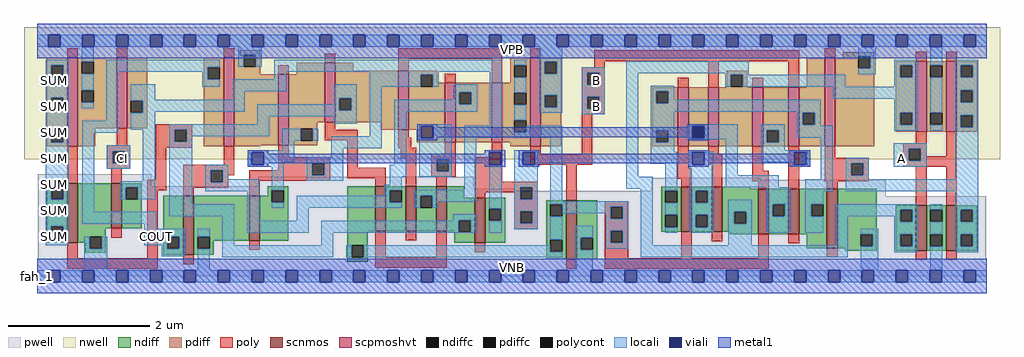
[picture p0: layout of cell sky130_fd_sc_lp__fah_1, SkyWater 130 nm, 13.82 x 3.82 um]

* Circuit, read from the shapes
.subckt sky130_fd_sc_lp__fah_1 A B CI VGND VNB VPB VPWR COUT SUM
XM1 VGND n1 SUM VNB sky130_fd_pr__nfet_01v8 w=0.84 l=0.15
XM2 n2 CI VGND VNB sky130_fd_pr__nfet_01v8 w=0.64 l=0.15
XM3 VGND n3 COUT VNB sky130_fd_pr__nfet_01v8 w=0.84 l=0.15
XM4 n4 n2 VGND VNB sky130_fd_pr__nfet_01v8 w=0.64 l=0.15
XM5 n3 n5 n6 VNB sky130_fd_pr__nfet_01v8 w=0.64 l=0.15
XM6 n2 n7 n3 VNB sky130_fd_pr__nfet_01v8 w=0.64 l=0.15
XM7 n1 n5 n2 VNB sky130_fd_pr__nfet_01v8 w=0.64 l=0.15
XM8 n4 n7 n1 VNB sky130_fd_pr__nfet_01v8 w=0.64 l=0.15
XM9 VGND B n6 VNB sky130_fd_pr__nfet_01v8 w=0.84 l=0.15
XM10 n7 n6 n8 VNB sky130_fd_pr__nfet_01v8 w=0.64 l=0.15
XM11 n9 B n7 VNB sky130_fd_pr__nfet_01v8 w=0.64 l=0.15
XM12 n5 n6 n9 VNB sky130_fd_pr__nfet_01v8 w=0.64 l=0.15
XM13 n8 B n5 VNB sky130_fd_pr__nfet_01v8 w=0.64 l=0.15
XM14 VGND n10 n8 VNB sky130_fd_pr__nfet_01v8 w=0.84 l=0.15
XM15 VGND A n9 VNB sky130_fd_pr__nfet_01v8 w=0.64 l=0.15
XM16 n10 A VGND VNB sky130_fd_pr__nfet_01v8 w=0.64 l=0.15
XM17 VPWR n1 SUM VPB sky130_fd_pr__pfet_01v8_hvt w=1.26 l=0.15
XM18 n2 CI VPWR VPB sky130_fd_pr__pfet_01v8_hvt w=1 l=0.15
XM19 VPWR n3 COUT VPB sky130_fd_pr__pfet_01v8_hvt w=1.26 l=0.15
XM20 n4 n2 VPWR VPB sky130_fd_pr__pfet_01v8_hvt w=1 l=0.15
XM21 n1 n5 n4 VPB sky130_fd_pr__pfet_01v8_hvt w=0.84 l=0.15
XM22 n2 n7 n1 VPB sky130_fd_pr__pfet_01v8_hvt w=0.84 l=0.15
XM23 n3 n5 n2 VPB sky130_fd_pr__pfet_01v8_hvt w=0.84 l=0.15
XM24 n6 n7 n3 VPB sky130_fd_pr__pfet_01v8_hvt w=0.84 l=0.15
XM25 VPWR B n6 VPB sky130_fd_pr__pfet_01v8_hvt w=1.26 l=0.15
XM26 n5 n6 n8 VPB sky130_fd_pr__pfet_01v8_hvt w=0.84 l=0.15
XM27 n9 B n5 VPB sky130_fd_pr__pfet_01v8_hvt w=0.84 l=0.15
XM28 n7 n6 n9 VPB sky130_fd_pr__pfet_01v8_hvt w=0.84 l=0.15
XM29 n8 B n7 VPB sky130_fd_pr__pfet_01v8_hvt w=0.84 l=0.15
XM30 VPWR n10 n8 VPB sky130_fd_pr__pfet_01v8_hvt w=1.26 l=0.15
XM31 VPWR A n9 VPB sky130_fd_pr__pfet_01v8_hvt w=1 l=0.15
XM32 n10 A VPWR VPB sky130_fd_pr__pfet_01v8_hvt w=1 l=0.15
.ends

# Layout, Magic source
magic
tech sky130A
magscale 1 2
<< nwell >>
rect -38 331 2726 704
<< pwell >>
rect 1 254 322 289
rect 626 254 1235 281
rect 1 248 1235 254
rect 1740 273 2045 279
rect 1 241 1351 248
rect 1740 241 2403 273
rect 1 226 2403 241
rect 1 49 2687 226
rect 0 0 2688 49
<< scnmos >>
rect 84 95 114 263
rect 209 135 239 263
rect 413 60 443 228
rect 600 100 630 228
rect 957 127 987 255
rect 1043 127 1073 255
rect 1129 127 1159 255
rect 1238 94 1268 222
rect 1498 47 1528 215
rect 1823 125 1853 253
rect 1909 125 1939 253
rect 2041 119 2071 247
rect 2127 119 2157 247
rect 2236 79 2266 247
rect 2488 72 2518 200
rect 2574 72 2604 200
<< scpmoshvt >>
rect 84 367 114 619
rect 224 419 254 619
rect 528 367 558 619
rect 682 371 712 571
rect 814 436 844 604
rect 1022 414 1052 582
rect 1154 379 1184 547
rect 1287 379 1317 547
rect 1396 367 1426 619
rect 1814 367 1844 535
rect 1900 367 1930 535
rect 2025 367 2055 535
rect 2127 367 2157 535
rect 2229 367 2259 619
rect 2488 409 2518 609
rect 2574 409 2604 609
<< ndiff >>
rect 27 251 84 263
rect 27 217 39 251
rect 73 217 84 251
rect 27 141 84 217
rect 27 107 39 141
rect 73 107 84 141
rect 27 95 84 107
rect 114 135 209 263
rect 239 252 296 263
rect 239 218 250 252
rect 284 218 296 252
rect 239 135 296 218
rect 114 112 194 135
rect 114 95 148 112
rect 136 78 148 95
rect 182 78 194 112
rect 136 66 194 78
rect 652 243 710 255
rect 652 228 664 243
rect 356 112 413 228
rect 356 78 368 112
rect 402 78 413 112
rect 356 60 413 78
rect 443 112 600 228
rect 443 78 454 112
rect 488 100 600 112
rect 630 209 664 228
rect 698 209 710 243
rect 630 100 710 209
rect 878 127 957 255
rect 987 243 1043 255
rect 987 209 998 243
rect 1032 209 1043 243
rect 987 127 1043 209
rect 1073 228 1129 255
rect 1073 194 1084 228
rect 1118 194 1129 228
rect 1073 127 1129 194
rect 1159 222 1209 255
rect 1159 158 1238 222
rect 1159 127 1193 158
rect 488 78 500 100
rect 443 60 500 78
rect 878 87 935 127
rect 878 53 890 87
rect 924 53 935 87
rect 878 41 935 53
rect 1181 124 1193 127
rect 1227 124 1238 158
rect 1181 94 1238 124
rect 1268 191 1325 222
rect 1268 157 1279 191
rect 1313 157 1325 191
rect 1268 94 1325 157
rect 1766 241 1823 253
rect 1441 203 1498 215
rect 1441 169 1453 203
rect 1487 169 1498 203
rect 1441 103 1498 169
rect 1441 69 1453 103
rect 1487 69 1498 103
rect 1441 47 1498 69
rect 1528 109 1585 215
rect 1528 75 1539 109
rect 1573 75 1585 109
rect 1528 47 1585 75
rect 1766 207 1778 241
rect 1812 207 1823 241
rect 1766 173 1823 207
rect 1766 139 1778 173
rect 1812 139 1823 173
rect 1766 125 1823 139
rect 1853 241 1909 253
rect 1853 207 1864 241
rect 1898 207 1909 241
rect 1853 173 1909 207
rect 1853 139 1864 173
rect 1898 139 1909 173
rect 1853 125 1909 139
rect 1939 247 2019 253
rect 1939 182 2041 247
rect 1939 148 1973 182
rect 2007 148 2041 182
rect 1939 125 2041 148
rect 1961 119 2041 125
rect 2071 204 2127 247
rect 2071 170 2082 204
rect 2116 170 2127 204
rect 2071 119 2127 170
rect 2157 204 2236 247
rect 2157 170 2191 204
rect 2225 170 2236 204
rect 2157 119 2236 170
rect 2179 79 2236 119
rect 2266 118 2377 247
rect 2266 84 2331 118
rect 2365 84 2377 118
rect 2266 79 2377 84
rect 2288 72 2377 79
rect 2431 188 2488 200
rect 2431 154 2443 188
rect 2477 154 2488 188
rect 2431 118 2488 154
rect 2431 84 2443 118
rect 2477 84 2488 118
rect 2431 72 2488 84
rect 2518 188 2574 200
rect 2518 154 2529 188
rect 2563 154 2574 188
rect 2518 118 2574 154
rect 2518 84 2529 118
rect 2563 84 2574 118
rect 2518 72 2574 84
rect 2604 188 2661 200
rect 2604 154 2615 188
rect 2649 154 2661 188
rect 2604 118 2661 154
rect 2604 84 2615 118
rect 2649 84 2661 118
rect 2604 72 2661 84
<< pdiff >>
rect 573 627 631 639
rect 573 619 585 627
rect 27 597 84 619
rect 27 563 39 597
rect 73 563 84 597
rect 27 505 84 563
rect 27 471 39 505
rect 73 471 84 505
rect 27 413 84 471
rect 27 379 39 413
rect 73 379 84 413
rect 27 367 84 379
rect 114 607 224 619
rect 114 573 125 607
rect 159 573 224 607
rect 114 526 224 573
rect 114 492 125 526
rect 159 492 224 526
rect 114 419 224 492
rect 254 496 311 619
rect 254 462 265 496
rect 299 462 311 496
rect 254 419 311 462
rect 471 591 528 619
rect 471 557 483 591
rect 517 557 528 591
rect 114 367 164 419
rect 471 367 528 557
rect 558 593 585 619
rect 619 593 631 627
rect 558 571 631 593
rect 734 571 814 604
rect 558 371 682 571
rect 712 436 814 571
rect 844 582 894 604
rect 844 504 1022 582
rect 844 470 855 504
rect 889 470 1022 504
rect 844 436 1022 470
rect 712 417 792 436
rect 712 383 746 417
rect 780 383 792 417
rect 972 414 1022 436
rect 1052 570 1132 582
rect 1052 536 1086 570
rect 1120 547 1132 570
rect 1339 597 1396 619
rect 1339 563 1351 597
rect 1385 563 1396 597
rect 1339 547 1396 563
rect 1120 536 1154 547
rect 1052 414 1154 536
rect 712 371 792 383
rect 558 367 631 371
rect 1074 379 1154 414
rect 1184 521 1287 547
rect 1184 487 1195 521
rect 1229 487 1287 521
rect 1184 379 1287 487
rect 1317 519 1396 547
rect 1317 485 1351 519
rect 1385 485 1396 519
rect 1317 442 1396 485
rect 1317 408 1351 442
rect 1385 408 1396 442
rect 1317 379 1396 408
rect 1339 367 1396 379
rect 1426 607 1483 619
rect 1426 573 1437 607
rect 1471 573 1483 607
rect 2281 622 2370 634
rect 2281 619 2324 622
rect 1426 512 1483 573
rect 1426 478 1437 512
rect 1471 478 1483 512
rect 1426 367 1483 478
rect 1952 570 2010 582
rect 1952 536 1964 570
rect 1998 536 2010 570
rect 1952 535 2010 536
rect 2179 535 2229 619
rect 1741 523 1814 535
rect 1741 489 1753 523
rect 1787 489 1814 523
rect 1741 413 1814 489
rect 1741 379 1753 413
rect 1787 379 1814 413
rect 1741 367 1814 379
rect 1844 426 1900 535
rect 1844 392 1855 426
rect 1889 392 1900 426
rect 1844 367 1900 392
rect 1930 367 2025 535
rect 2055 413 2127 535
rect 2055 379 2066 413
rect 2100 379 2127 413
rect 2055 367 2127 379
rect 2157 463 2229 535
rect 2157 429 2168 463
rect 2202 429 2229 463
rect 2157 367 2229 429
rect 2259 588 2324 619
rect 2358 588 2370 622
rect 2259 367 2370 588
rect 2431 597 2488 609
rect 2431 563 2443 597
rect 2477 563 2488 597
rect 2431 462 2488 563
rect 2431 428 2443 462
rect 2477 428 2488 462
rect 2431 409 2488 428
rect 2518 597 2574 609
rect 2518 563 2529 597
rect 2563 563 2574 597
rect 2518 462 2574 563
rect 2518 428 2529 462
rect 2563 428 2574 462
rect 2518 409 2574 428
rect 2604 597 2661 609
rect 2604 563 2615 597
rect 2649 563 2661 597
rect 2604 526 2661 563
rect 2604 492 2615 526
rect 2649 492 2661 526
rect 2604 455 2661 492
rect 2604 421 2615 455
rect 2649 421 2661 455
rect 2604 409 2661 421
<< ndiffc >>
rect 39 217 73 251
rect 39 107 73 141
rect 250 218 284 252
rect 148 78 182 112
rect 368 78 402 112
rect 454 78 488 112
rect 664 209 698 243
rect 998 209 1032 243
rect 1084 194 1118 228
rect 890 53 924 87
rect 1193 124 1227 158
rect 1279 157 1313 191
rect 1453 169 1487 203
rect 1453 69 1487 103
rect 1539 75 1573 109
rect 1778 207 1812 241
rect 1778 139 1812 173
rect 1864 207 1898 241
rect 1864 139 1898 173
rect 1973 148 2007 182
rect 2082 170 2116 204
rect 2191 170 2225 204
rect 2331 84 2365 118
rect 2443 154 2477 188
rect 2443 84 2477 118
rect 2529 154 2563 188
rect 2529 84 2563 118
rect 2615 154 2649 188
rect 2615 84 2649 118
<< pdiffc >>
rect 39 563 73 597
rect 39 471 73 505
rect 39 379 73 413
rect 125 573 159 607
rect 125 492 159 526
rect 265 462 299 496
rect 483 557 517 591
rect 585 593 619 627
rect 855 470 889 504
rect 746 383 780 417
rect 1086 536 1120 570
rect 1351 563 1385 597
rect 1195 487 1229 521
rect 1351 485 1385 519
rect 1351 408 1385 442
rect 1437 573 1471 607
rect 1437 478 1471 512
rect 1964 536 1998 570
rect 1753 489 1787 523
rect 1753 379 1787 413
rect 1855 392 1889 426
rect 2066 379 2100 413
rect 2168 429 2202 463
rect 2324 588 2358 622
rect 2443 563 2477 597
rect 2443 428 2477 462
rect 2529 563 2563 597
rect 2529 428 2563 462
rect 2615 563 2649 597
rect 2615 492 2649 526
rect 2615 421 2649 455
<< poly >>
rect 84 619 114 645
rect 224 619 254 645
rect 528 619 558 645
rect 224 370 254 419
rect 335 414 439 430
rect 335 380 389 414
rect 423 380 439 414
rect 84 263 114 367
rect 197 354 263 370
rect 197 320 213 354
rect 247 320 263 354
rect 197 304 263 320
rect 335 364 439 380
rect 814 604 844 630
rect 1022 615 1317 645
rect 1396 619 1426 645
rect 682 571 712 597
rect 1022 582 1052 615
rect 814 414 844 436
rect 1154 547 1184 573
rect 1287 547 1317 615
rect 814 384 907 414
rect 209 263 239 304
rect 335 273 365 364
rect 528 316 558 367
rect 311 243 365 273
rect 413 300 558 316
rect 682 336 712 371
rect 682 320 829 336
rect 682 300 779 320
rect 413 266 491 300
rect 525 286 558 300
rect 600 286 779 300
rect 813 286 829 320
rect 525 266 541 286
rect 413 250 541 266
rect 600 270 829 286
rect 877 307 907 384
rect 1022 392 1052 414
rect 1022 364 1059 392
rect 1022 362 1073 364
rect 1029 334 1073 362
rect 1154 347 1184 379
rect 877 277 987 307
rect 84 51 114 95
rect 209 109 239 135
rect 311 51 341 243
rect 413 228 443 250
rect 600 228 630 270
rect 957 255 987 277
rect 1043 255 1073 334
rect 1115 331 1184 347
rect 1287 337 1317 379
rect 1577 609 2157 639
rect 2229 619 2259 645
rect 1577 592 1607 609
rect 1541 576 1607 592
rect 1541 542 1557 576
rect 1591 542 1607 576
rect 1541 508 1607 542
rect 1814 535 1844 561
rect 1900 535 1930 609
rect 2025 535 2055 561
rect 2127 535 2157 609
rect 1541 474 1557 508
rect 1591 474 1607 508
rect 1541 458 1607 474
rect 1115 297 1131 331
rect 1165 297 1184 331
rect 1115 281 1184 297
rect 1129 255 1159 281
rect 1238 267 1317 337
rect 1396 345 1426 367
rect 1541 345 1571 458
rect 2488 609 2518 635
rect 2574 609 2604 635
rect 2488 376 2518 409
rect 1396 315 1571 345
rect 1238 251 1417 267
rect 1238 237 1367 251
rect 1238 222 1268 237
rect 600 74 630 100
rect 84 21 341 51
rect 413 34 443 60
rect 957 53 987 127
rect 1043 101 1073 127
rect 1129 53 1159 127
rect 1351 217 1367 237
rect 1401 217 1417 251
rect 1351 183 1417 217
rect 1498 215 1528 315
rect 1814 305 1844 367
rect 1900 345 1930 367
rect 1900 315 1939 345
rect 1814 275 1853 305
rect 1823 253 1853 275
rect 1909 253 1939 315
rect 2025 299 2055 367
rect 2025 269 2071 299
rect 1351 149 1367 183
rect 1401 149 1417 183
rect 1351 133 1417 149
rect 1238 68 1268 94
rect 957 23 1159 53
rect 1607 196 1673 212
rect 1607 162 1623 196
rect 1657 162 1673 196
rect 1607 128 1673 162
rect 1607 94 1623 128
rect 1657 94 1673 128
rect 2041 247 2071 269
rect 2127 247 2157 367
rect 2229 335 2259 367
rect 2452 360 2518 376
rect 2229 319 2355 335
rect 2229 285 2305 319
rect 2339 285 2355 319
rect 2452 326 2468 360
rect 2502 340 2518 360
rect 2574 340 2604 409
rect 2502 326 2604 340
rect 2452 310 2604 326
rect 2229 269 2355 285
rect 2236 247 2266 269
rect 1607 51 1673 94
rect 1823 51 1853 125
rect 1909 99 1939 125
rect 2041 51 2071 119
rect 2127 93 2157 119
rect 2488 200 2518 310
rect 2574 200 2604 310
rect 2236 53 2266 79
rect 1498 21 1528 47
rect 1607 21 2071 51
rect 2488 46 2518 72
rect 2574 46 2604 72
<< polycont >>
rect 389 380 423 414
rect 213 320 247 354
rect 491 266 525 300
rect 779 286 813 320
rect 1557 542 1591 576
rect 1557 474 1591 508
rect 1131 297 1165 331
rect 1367 217 1401 251
rect 1367 149 1401 183
rect 1623 162 1657 196
rect 1623 94 1657 128
rect 2305 285 2339 319
rect 2468 326 2502 360
<< locali >>
rect 0 649 31 683
rect 65 649 127 683
rect 161 649 223 683
rect 257 649 319 683
rect 353 649 415 683
rect 449 649 511 683
rect 545 649 607 683
rect 641 649 703 683
rect 737 649 799 683
rect 833 649 895 683
rect 929 649 991 683
rect 1025 649 1087 683
rect 1121 649 1183 683
rect 1217 649 1279 683
rect 1313 649 1375 683
rect 1409 649 1471 683
rect 1505 649 1567 683
rect 1601 649 1663 683
rect 1697 649 1759 683
rect 1793 649 1855 683
rect 1889 649 1951 683
rect 1985 649 2047 683
rect 2081 649 2143 683
rect 2177 649 2239 683
rect 2273 649 2335 683
rect 2369 649 2431 683
rect 2465 649 2527 683
rect 2561 649 2623 683
rect 2657 649 2688 683
rect 23 597 89 613
rect 23 563 39 597
rect 73 563 89 597
rect 23 505 89 563
rect 23 471 39 505
rect 73 471 89 505
rect 125 607 159 649
rect 569 627 635 649
rect 125 526 159 573
rect 125 476 159 492
rect 195 591 517 613
rect 569 593 585 627
rect 619 593 635 627
rect 195 579 483 591
rect 23 413 89 471
rect 195 440 229 579
rect 467 557 483 579
rect 671 579 1315 613
rect 671 557 705 579
rect 23 379 39 413
rect 73 379 89 413
rect 23 251 89 379
rect 23 217 39 251
rect 73 217 89 251
rect 23 141 89 217
rect 127 406 229 440
rect 265 500 333 543
rect 467 536 517 557
rect 553 523 705 557
rect 941 570 1136 579
rect 553 500 587 523
rect 265 496 587 500
rect 299 466 587 496
rect 839 504 905 543
rect 839 487 855 504
rect 623 470 855 487
rect 889 470 905 504
rect 299 462 333 466
rect 265 415 333 462
rect 623 453 905 470
rect 623 430 657 453
rect 839 432 905 453
rect 941 536 1086 570
rect 1120 536 1136 570
rect 127 182 161 406
rect 197 354 263 370
rect 197 320 213 354
rect 247 320 263 354
rect 197 304 263 320
rect 299 268 333 415
rect 234 252 333 268
rect 234 218 250 252
rect 284 218 333 252
rect 373 414 657 430
rect 373 380 389 414
rect 423 396 657 414
rect 423 380 439 396
rect 373 204 439 380
rect 693 383 746 417
rect 780 383 796 417
rect 941 396 975 536
rect 1179 521 1245 543
rect 1179 500 1195 521
rect 693 356 727 383
rect 601 350 727 356
rect 601 316 607 350
rect 641 322 727 350
rect 832 362 975 396
rect 1011 487 1195 500
rect 1229 487 1245 521
rect 1011 466 1245 487
rect 832 336 866 362
rect 641 316 698 322
rect 475 300 541 316
rect 601 310 698 316
rect 475 266 491 300
rect 525 274 541 300
rect 525 266 628 274
rect 475 240 628 266
rect 127 148 337 182
rect 373 170 558 204
rect 23 107 39 141
rect 73 107 89 141
rect 303 134 337 148
rect 303 112 418 134
rect 23 88 89 107
rect 132 78 148 112
rect 182 78 198 112
rect 303 88 368 112
rect 132 17 198 78
rect 352 78 368 88
rect 402 78 418 112
rect 352 56 418 78
rect 454 112 488 134
rect 454 17 488 78
rect 524 87 558 170
rect 594 157 628 240
rect 664 243 698 310
rect 763 320 866 336
rect 763 286 779 320
rect 813 286 866 320
rect 1011 315 1045 466
rect 763 270 866 286
rect 998 281 1045 315
rect 1081 424 1173 430
rect 1281 426 1315 579
rect 1081 390 1087 424
rect 1121 390 1173 424
rect 1081 331 1173 390
rect 1081 297 1131 331
rect 1165 297 1173 331
rect 1081 281 1173 297
rect 1209 392 1315 426
rect 1351 597 1385 613
rect 1351 519 1385 563
rect 1351 442 1385 485
rect 1421 607 1487 649
rect 2324 622 2374 649
rect 1421 573 1437 607
rect 1471 573 1487 607
rect 1421 512 1487 573
rect 1421 478 1437 512
rect 1471 478 1487 512
rect 1421 462 1487 478
rect 1541 576 1607 592
rect 1541 542 1557 576
rect 1591 542 1607 576
rect 1541 508 1607 542
rect 1541 474 1557 508
rect 1591 474 1607 508
rect 1541 458 1607 474
rect 1667 575 2014 609
rect 1385 408 1487 426
rect 1351 392 1487 408
rect 998 259 1032 281
rect 982 243 1032 259
rect 1209 245 1243 392
rect 982 227 998 243
rect 664 193 698 209
rect 734 209 998 227
rect 734 193 1032 209
rect 1068 228 1243 245
rect 1068 194 1084 228
rect 1118 211 1243 228
rect 1279 350 1315 356
rect 1313 316 1315 350
rect 1118 194 1134 211
rect 1068 193 1134 194
rect 734 157 768 193
rect 1279 191 1315 316
rect 1177 158 1243 175
rect 1177 157 1193 158
rect 594 123 768 157
rect 804 124 1193 157
rect 1227 124 1243 158
rect 804 123 1243 124
rect 1313 157 1315 191
rect 1279 123 1315 157
rect 1351 350 1417 356
rect 1351 316 1375 350
rect 1409 316 1417 350
rect 1351 251 1417 316
rect 1351 217 1367 251
rect 1401 217 1417 251
rect 1351 183 1417 217
rect 1351 149 1367 183
rect 1401 149 1417 183
rect 1351 133 1417 149
rect 1453 212 1487 392
rect 1667 282 1701 575
rect 1948 570 2014 575
rect 2358 588 2374 622
rect 2324 572 2374 588
rect 2427 597 2493 613
rect 1737 523 1803 539
rect 1948 536 1964 570
rect 1998 536 2288 570
rect 2427 563 2443 597
rect 2477 563 2493 597
rect 2427 536 2493 563
rect 1737 489 1753 523
rect 1787 500 1803 523
rect 2254 502 2493 536
rect 1787 489 2218 500
rect 1737 466 2218 489
rect 1737 413 1803 466
rect 2152 463 2218 466
rect 1737 379 1753 413
rect 1787 379 1803 413
rect 1839 426 1984 430
rect 1839 390 1855 426
rect 1889 390 1984 426
rect 1839 388 1984 390
rect 1737 352 1803 379
rect 1737 318 1812 352
rect 1667 248 1742 282
rect 1453 203 1672 212
rect 1487 196 1672 203
rect 1487 178 1623 196
rect 804 87 838 123
rect 1453 103 1487 169
rect 1609 162 1623 178
rect 1657 162 1672 196
rect 524 53 838 87
rect 874 53 890 87
rect 924 69 1453 87
rect 924 53 1487 69
rect 1523 109 1573 142
rect 1523 75 1539 109
rect 1609 128 1672 162
rect 1609 94 1623 128
rect 1657 94 1672 128
rect 1609 78 1672 94
rect 1708 87 1742 248
rect 1778 241 1812 318
rect 1778 173 1812 207
rect 1778 123 1812 139
rect 1848 350 1914 352
rect 1848 316 1855 350
rect 1889 316 1914 350
rect 1848 241 1914 316
rect 1950 286 1984 388
rect 2050 413 2116 430
rect 2050 379 2066 413
rect 2100 379 2116 413
rect 2152 429 2168 463
rect 2202 429 2218 463
rect 2152 426 2218 429
rect 2427 462 2493 502
rect 2427 428 2443 462
rect 2477 428 2493 462
rect 2152 392 2253 426
rect 2427 412 2493 428
rect 2529 597 2563 649
rect 2529 462 2563 563
rect 2529 412 2563 428
rect 2599 597 2665 613
rect 2599 563 2615 597
rect 2649 563 2665 597
rect 2599 526 2665 563
rect 2599 492 2615 526
rect 2649 492 2665 526
rect 2599 455 2665 492
rect 2599 421 2615 455
rect 2649 421 2665 455
rect 2050 356 2116 379
rect 2050 350 2183 356
rect 2050 322 2143 350
rect 2137 316 2143 322
rect 2177 316 2183 350
rect 2137 310 2183 316
rect 1950 252 2100 286
rect 2219 274 2253 392
rect 2425 360 2518 376
rect 1848 207 1864 241
rect 1898 207 1914 241
rect 2066 251 2100 252
rect 1848 173 1914 207
rect 1848 139 1864 173
rect 1898 139 1914 173
rect 1848 123 1914 139
rect 1957 182 2023 216
rect 1957 148 1973 182
rect 2007 148 2023 182
rect 1957 87 2023 148
rect 2066 204 2132 251
rect 2066 170 2082 204
rect 2116 170 2132 204
rect 2066 123 2132 170
rect 2175 240 2253 274
rect 2289 319 2355 335
rect 2289 285 2305 319
rect 2339 285 2355 319
rect 2425 326 2468 360
rect 2502 326 2518 360
rect 2425 310 2518 326
rect 2289 274 2355 285
rect 2599 274 2665 421
rect 2289 240 2665 274
rect 2175 204 2225 240
rect 2175 170 2191 204
rect 2175 123 2225 170
rect 2261 188 2493 204
rect 2261 170 2443 188
rect 2261 87 2295 170
rect 2427 154 2443 170
rect 2477 154 2493 188
rect 1523 17 1573 75
rect 1708 53 2295 87
rect 2331 118 2381 134
rect 2365 84 2381 118
rect 2331 17 2381 84
rect 2427 118 2493 154
rect 2427 84 2443 118
rect 2477 84 2493 118
rect 2427 68 2493 84
rect 2529 188 2563 204
rect 2529 118 2563 154
rect 2529 17 2563 84
rect 2599 188 2665 240
rect 2599 154 2615 188
rect 2649 154 2665 188
rect 2599 118 2665 154
rect 2599 84 2615 118
rect 2649 84 2665 118
rect 2599 68 2665 84
rect 0 -17 31 17
rect 65 -17 127 17
rect 161 -17 223 17
rect 257 -17 319 17
rect 353 -17 415 17
rect 449 -17 511 17
rect 545 -17 607 17
rect 641 -17 703 17
rect 737 -17 799 17
rect 833 -17 895 17
rect 929 -17 991 17
rect 1025 -17 1087 17
rect 1121 -17 1183 17
rect 1217 -17 1279 17
rect 1313 -17 1375 17
rect 1409 -17 1471 17
rect 1505 -17 1567 17
rect 1601 -17 1663 17
rect 1697 -17 1759 17
rect 1793 -17 1855 17
rect 1889 -17 1951 17
rect 1985 -17 2047 17
rect 2081 -17 2143 17
rect 2177 -17 2239 17
rect 2273 -17 2335 17
rect 2369 -17 2431 17
rect 2465 -17 2527 17
rect 2561 -17 2623 17
rect 2657 -17 2688 17
<< viali >>
rect 31 649 65 683
rect 127 649 161 683
rect 223 649 257 683
rect 319 649 353 683
rect 415 649 449 683
rect 511 649 545 683
rect 607 649 641 683
rect 703 649 737 683
rect 799 649 833 683
rect 895 649 929 683
rect 991 649 1025 683
rect 1087 649 1121 683
rect 1183 649 1217 683
rect 1279 649 1313 683
rect 1375 649 1409 683
rect 1471 649 1505 683
rect 1567 649 1601 683
rect 1663 649 1697 683
rect 1759 649 1793 683
rect 1855 649 1889 683
rect 1951 649 1985 683
rect 2047 649 2081 683
rect 2143 649 2177 683
rect 2239 649 2273 683
rect 2335 649 2369 683
rect 2431 649 2465 683
rect 2527 649 2561 683
rect 2623 649 2657 683
rect 607 316 641 350
rect 1087 390 1121 424
rect 1279 316 1313 350
rect 1375 316 1409 350
rect 1855 392 1889 424
rect 1855 390 1889 392
rect 1855 316 1889 350
rect 2143 316 2177 350
rect 31 -17 65 17
rect 127 -17 161 17
rect 223 -17 257 17
rect 319 -17 353 17
rect 415 -17 449 17
rect 511 -17 545 17
rect 607 -17 641 17
rect 703 -17 737 17
rect 799 -17 833 17
rect 895 -17 929 17
rect 991 -17 1025 17
rect 1087 -17 1121 17
rect 1183 -17 1217 17
rect 1279 -17 1313 17
rect 1375 -17 1409 17
rect 1471 -17 1505 17
rect 1567 -17 1601 17
rect 1663 -17 1697 17
rect 1759 -17 1793 17
rect 1855 -17 1889 17
rect 1951 -17 1985 17
rect 2047 -17 2081 17
rect 2143 -17 2177 17
rect 2239 -17 2273 17
rect 2335 -17 2369 17
rect 2431 -17 2465 17
rect 2527 -17 2561 17
rect 2623 -17 2657 17
<< metal1 >>
rect 0 683 2688 715
rect 0 649 31 683
rect 65 649 127 683
rect 161 649 223 683
rect 257 649 319 683
rect 353 649 415 683
rect 449 649 511 683
rect 545 649 607 683
rect 641 649 703 683
rect 737 649 799 683
rect 833 649 895 683
rect 929 649 991 683
rect 1025 649 1087 683
rect 1121 649 1183 683
rect 1217 649 1279 683
rect 1313 649 1375 683
rect 1409 649 1471 683
rect 1505 649 1567 683
rect 1601 649 1663 683
rect 1697 649 1759 683
rect 1793 649 1855 683
rect 1889 649 1951 683
rect 1985 649 2047 683
rect 2081 649 2143 683
rect 2177 649 2239 683
rect 2273 649 2335 683
rect 2369 649 2431 683
rect 2465 649 2527 683
rect 2561 649 2623 683
rect 2657 649 2688 683
rect 0 617 2688 649
rect 1075 424 1133 430
rect 1075 390 1087 424
rect 1121 421 1133 424
rect 1843 424 1901 430
rect 1843 421 1855 424
rect 1121 393 1855 421
rect 1121 390 1133 393
rect 1075 384 1133 390
rect 1843 390 1855 393
rect 1889 390 1901 424
rect 1843 384 1901 390
rect 595 350 653 356
rect 595 316 607 350
rect 641 347 653 350
rect 1267 350 1325 356
rect 1267 347 1279 350
rect 641 319 1279 347
rect 641 316 653 319
rect 595 310 653 316
rect 1267 316 1279 319
rect 1313 316 1325 350
rect 1267 310 1325 316
rect 1363 350 1421 356
rect 1363 316 1375 350
rect 1409 347 1421 350
rect 1843 350 1901 356
rect 1843 347 1855 350
rect 1409 319 1855 347
rect 1409 316 1421 319
rect 1363 310 1421 316
rect 1843 316 1855 319
rect 1889 347 1901 350
rect 2131 350 2189 356
rect 2131 347 2143 350
rect 1889 319 2143 347
rect 1889 316 1901 319
rect 1843 310 1901 316
rect 2131 316 2143 319
rect 2177 316 2189 350
rect 2131 310 2189 316
rect 0 17 2688 49
rect 0 -17 31 17
rect 65 -17 127 17
rect 161 -17 223 17
rect 257 -17 319 17
rect 353 -17 415 17
rect 449 -17 511 17
rect 545 -17 607 17
rect 641 -17 703 17
rect 737 -17 799 17
rect 833 -17 895 17
rect 929 -17 991 17
rect 1025 -17 1087 17
rect 1121 -17 1183 17
rect 1217 -17 1279 17
rect 1313 -17 1375 17
rect 1409 -17 1471 17
rect 1505 -17 1567 17
rect 1601 -17 1663 17
rect 1697 -17 1759 17
rect 1793 -17 1855 17
rect 1889 -17 1951 17
rect 1985 -17 2047 17
rect 2081 -17 2143 17
rect 2177 -17 2239 17
rect 2273 -17 2335 17
rect 2369 -17 2431 17
rect 2465 -17 2527 17
rect 2561 -17 2623 17
rect 2657 -17 2688 17
rect 0 -49 2688 -17
<< labels >>
flabel pwell s 0 0 2688 49 0 FreeSans 200 0 0 0 VNB
port 5 nsew ground bidirectional
flabel nwell s 0 617 2688 666 0 FreeSans 200 0 0 0 VPB
port 6 nsew power bidirectional
rlabel comment s 0 0 0 0 4 fah_1
flabel metal1 s 0 617 2688 666 0 FreeSans 340 0 0 0 VPWR
port 7 nsew power bidirectional
flabel metal1 s 0 0 2688 49 0 FreeSans 340 0 0 0 VGND
port 4 nsew ground bidirectional
flabel locali s 31 94 65 128 0 FreeSans 340 0 0 0 SUM
port 9 nsew signal output
flabel locali s 31 168 65 202 0 FreeSans 340 0 0 0 SUM
port 9 nsew signal output
flabel locali s 31 242 65 276 0 FreeSans 340 0 0 0 SUM
port 9 nsew signal output
flabel locali s 31 316 65 350 0 FreeSans 340 0 0 0 SUM
port 9 nsew signal output
flabel locali s 31 390 65 424 0 FreeSans 340 0 0 0 SUM
port 9 nsew signal output
flabel locali s 31 464 65 498 0 FreeSans 340 0 0 0 SUM
port 9 nsew signal output
flabel locali s 31 538 65 572 0 FreeSans 340 0 0 0 SUM
port 9 nsew signal output
flabel locali s 319 94 353 128 0 FreeSans 340 0 0 0 COUT
port 8 nsew signal output
flabel locali s 223 316 257 350 0 FreeSans 340 0 0 0 CI
port 3 nsew signal input
flabel locali s 2431 316 2465 350 0 FreeSans 340 0 0 0 A
port 1 nsew signal input
flabel locali s 1567 464 1601 498 0 FreeSans 340 0 0 0 B
port 2 nsew signal input
flabel locali s 1567 538 1601 572 0 FreeSans 340 0 0 0 B
port 2 nsew signal input
<< properties >>
string LEFsite unit
string LEFclass CORE
string FIXED_BBOX 0 0 2688 666
string GDS_FILE $PDKPATH/libs.ref/sky130_fd_sc_lp/gds/sky130_fd_sc_lp.gds
string LEFsymmetry X Y R90
string GDS_END 6500174
string GDS_START 6481674
<< end >>
